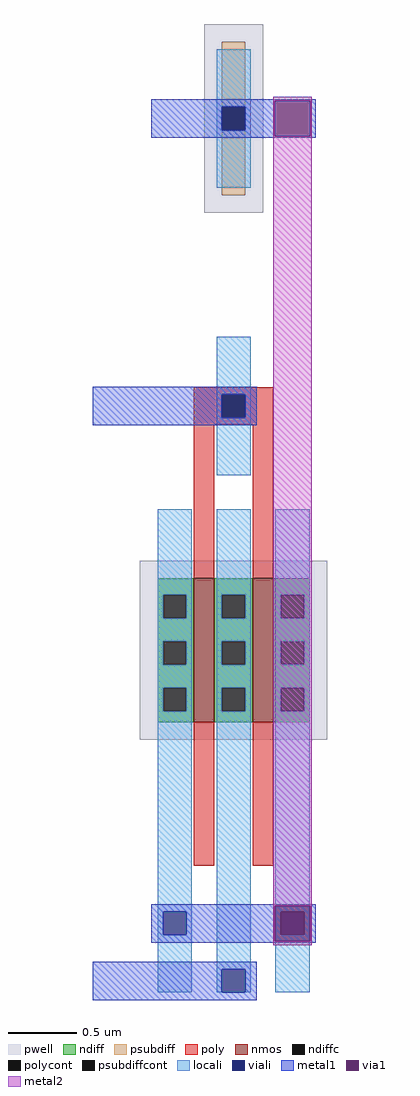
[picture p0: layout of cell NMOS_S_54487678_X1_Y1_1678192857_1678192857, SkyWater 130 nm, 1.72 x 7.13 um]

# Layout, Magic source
magic
tech sky130A
magscale 1 2
<< pwell >>
rect 215 1206 301 1482
rect 121 436 395 698
<< nmos >>
rect 200 462 230 672
rect 286 462 316 672
<< ndiff >>
rect 147 648 200 672
rect 147 614 155 648
rect 189 614 200 648
rect 147 580 200 614
rect 147 546 155 580
rect 189 546 200 580
rect 147 512 200 546
rect 147 478 155 512
rect 189 478 200 512
rect 147 462 200 478
rect 230 648 286 672
rect 230 614 241 648
rect 275 614 286 648
rect 230 580 286 614
rect 230 546 241 580
rect 275 546 286 580
rect 230 512 286 546
rect 230 478 241 512
rect 275 478 286 512
rect 230 462 286 478
rect 316 648 369 672
rect 316 614 327 648
rect 361 614 369 648
rect 316 580 369 614
rect 316 546 327 580
rect 361 546 369 580
rect 316 512 369 546
rect 316 478 327 512
rect 361 478 369 512
rect 316 462 369 478
<< ndiffc >>
rect 155 614 189 648
rect 155 546 189 580
rect 155 478 189 512
rect 241 614 275 648
rect 241 546 275 580
rect 241 478 275 512
rect 327 614 361 648
rect 327 546 361 580
rect 327 478 361 512
<< psubdiff >>
rect 241 1361 275 1456
rect 241 1232 275 1327
<< psubdiffcont >>
rect 241 1327 275 1361
<< poly >>
rect 200 941 316 951
rect 200 907 241 941
rect 275 907 316 941
rect 200 897 316 907
rect 200 672 230 897
rect 286 672 316 897
rect 200 252 230 462
rect 286 252 316 462
<< polycont >>
rect 241 907 275 941
<< locali >>
rect 233 1361 283 1445
rect 233 1327 241 1361
rect 275 1327 283 1361
rect 233 1243 283 1327
rect 233 941 283 1025
rect 233 907 241 941
rect 275 907 283 941
rect 233 823 283 907
rect 147 648 197 773
rect 147 614 155 648
rect 189 614 197 648
rect 147 580 197 614
rect 147 546 155 580
rect 189 546 197 580
rect 147 512 197 546
rect 147 478 155 512
rect 189 478 197 512
rect 147 185 197 478
rect 147 151 155 185
rect 189 151 197 185
rect 147 67 197 151
rect 233 648 283 773
rect 233 614 241 648
rect 275 614 283 648
rect 233 580 283 614
rect 233 546 241 580
rect 275 546 283 580
rect 233 512 283 546
rect 233 478 241 512
rect 275 478 283 512
rect 233 101 283 478
rect 233 67 241 101
rect 275 67 283 101
rect 319 648 369 773
rect 319 614 327 648
rect 361 614 369 648
rect 319 580 369 614
rect 319 546 327 580
rect 361 546 369 580
rect 319 512 369 546
rect 319 478 327 512
rect 361 478 369 512
rect 319 185 369 478
rect 319 151 327 185
rect 361 151 369 185
rect 319 67 369 151
<< viali >>
rect 241 1327 275 1361
rect 241 907 275 941
rect 155 151 189 185
rect 241 67 275 101
rect 327 151 361 185
<< metal1 >>
rect 138 1370 378 1372
rect 138 1361 318 1370
rect 138 1327 241 1361
rect 275 1327 318 1361
rect 138 1318 318 1327
rect 370 1318 378 1370
rect 138 1316 378 1318
rect 52 941 292 952
rect 52 907 241 941
rect 275 907 292 941
rect 52 896 292 907
rect 138 194 378 196
rect 138 185 318 194
rect 138 151 155 185
rect 189 151 318 185
rect 138 142 318 151
rect 370 142 378 194
rect 138 140 378 142
rect 52 101 292 112
rect 52 67 241 101
rect 275 67 292 101
rect 52 56 292 67
<< via1 >>
rect 318 1318 370 1370
rect 318 185 370 194
rect 318 151 327 185
rect 327 151 361 185
rect 361 151 370 185
rect 318 142 370 151
<< metal2 >>
rect 316 1370 372 1376
rect 316 1318 318 1370
rect 370 1318 372 1370
rect 316 194 372 1318
rect 316 142 318 194
rect 370 142 372 194
rect 316 136 372 142
<< end >>
